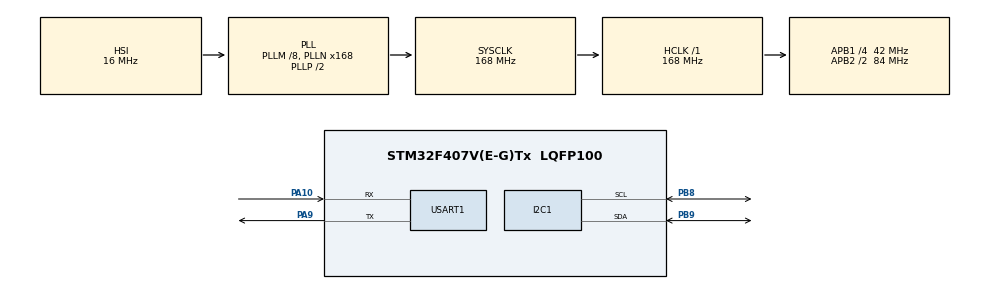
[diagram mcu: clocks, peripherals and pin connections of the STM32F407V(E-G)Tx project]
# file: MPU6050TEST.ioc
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Mcu.Family=STM32F4
Mcu.Name=STM32F407V(E-G)Tx
Mcu.Package=LQFP100
NVIC.PriorityGroup=NVIC_PRIORITYGROUP_4
NVIC.USART1_IRQn=true\:0\:0\:false\:false\:true\:true\:true
PA10.Mode=Asynchronous
PA10.Signal=USART1_RX
PA9.Mode=Asynchronous
PA9.Signal=USART1_TX
PB8.Mode=I2C
PB8.Signal=I2C1_SCL
PB9.Mode=I2C
PB9.Signal=I2C1_SDA
PH0-OSC_IN.Mode=HSE-External-Oscillator
PH0-OSC_IN.Signal=RCC_OSC_IN
PH1-OSC_OUT.Mode=HSE-External-Oscillator
PH1-OSC_OUT.Signal=RCC_OSC_OUT
ProjectManager.HeapSize=0x200
ProjectManager.StackSize=0x400
ProjectManager.TargetToolchain=STM32CubeIDE
RCC.48MHZClocksFreq_Value=84000000
RCC.AHBFreq_Value=168000000
RCC.APB1CLKDivider=RCC_HCLK_DIV4
RCC.APB1Freq_Value=42000000
RCC.APB1TimFreq_Value=84000000
RCC.APB2CLKDivider=RCC_HCLK_DIV2
RCC.APB2Freq_Value=84000000
RCC.APB2TimFreq_Value=168000000
RCC.CortexFreq_Value=168000000
RCC.HCLKFreq_Value=168000000
RCC.HSE_VALUE=8000000
RCC.HSI_VALUE=16000000
RCC.LSE_VALUE=32768
RCC.PLLM=8
RCC.PLLN=168
RCC.SYSCLKFreq_VALUE=168000000
RCC.SYSCLKSource=RCC_SYSCLKSOURCE_PLLCLK
RCC.VCOOutputFreq_Value=336000000
USART1.VirtualMode=VM_ASYNC
board=custom

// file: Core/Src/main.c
/* USER CODE BEGIN Header */
/**
  ******************************************************************************
  * @file           : main.c
  * @brief          : Main program body
  ******************************************************************************
  * @attention
  *
  * <h2><center>&copy; Copyright (c) 2020 STMicroelectronics.
  * All rights reserved.</center></h2>
  *
  * This software component is licensed by ST under BSD 3-Clause license,
  * the "License"; You may not use this file except in compliance with the
  * License. You may obtain a copy of the License at:
  *                        opensource.org/licenses/BSD-3-Clause
  *
  ******************************************************************************
  */
/* USER CODE END Header */

#include "main.h"
#include <math.h>

/* USER CODE BEGIN Includes */
#include "MPU6050.h"
/* USER CODE END Includes */

/* USER CODE BEGIN PD */
#define MPU6050_AXGAIN 16384.0
#define MPU6050_AYGAIN 16384.0
#define MPU6050_AZGAIN 16384.0

#define MPU6050_GXGAIN 131.072
#define MPU6050_GYGAIN 131.072
#define MPU6050_GZGAIN 131.072

#define MPU6050_AXOFFSET 0
#define MPU6050_AYOFFSET 0
#define MPU6050_AZOFFSET 0

// For Quaternion function
#define twoKpDef  (2.0f * 0.5f) // 2 * proportional gain
#define twoKiDef  (2.0f * 0.0f) // 2 * integral gain
/* USER CODE END PD */

I2C_HandleTypeDef hi2c1;

UART_HandleTypeDef huart1;

void SystemClock_Config(void);
static void MX_GPIO_Init(void);
static void MX_I2C1_Init(void);
static void MX_USART1_UART_Init(void);

/* USER CODE BEGIN 0 */

int16_t Accel_X, Accel_Y, Accel_Z;
int16_t Gyro_X, Gyro_Y, Gyro_Z;

float gacX, gacY, gacZ;
float roll, pitch, yaw;

uint8_t MPU6050 = 0;

void MPU6050_Write(uint8_t Address, uint8_t data){
  HAL_I2C_Mem_Write(&hi2c1, MPU6050, Address, 1, (uint8_t *)&data, 1, 10);
}

void MPU6050_Write_bits(uint8_t Address, uint8_t bitStart, uint8_t length, uint8_t data){
  uint8_t tmp = 0;
  HAL_I2C_Mem_Read(&hi2c1, MPU6050, Address, 1, (uint8_t *)&tmp, 1, 10);
  uint8_t mask = 0;
  switch(length){
    case 1: mask = 0x01; break;
    case 2: mask = 0x03; break;
    case 3: mask = 0x07; break;
    case 4: mask = 0x0F; break;
    case 5: mask = 0x1F; break;
    case 6: mask = 0x3F; break;
    case 7: mask = 0x7F; break;
    case 8: mask = 0xFF; break;
  }
  tmp &= ~(mask << bitStart);
  tmp |= (data << bitStart);
  HAL_I2C_Mem_Write(&hi2c1, MPU6050, Address, 1, (uint8_t *)&tmp, 1, 10);
}

uint8_t MPU6050_Read(uint8_t Address){
  uint8_t data;
  HAL_I2C_Mem_Read(&hi2c1, MPU6050, Address, 1, (uint8_t *)&data, 1, 10);
  return data;
}

void init_MPU6050(void){
  while(HAL_I2C_IsDeviceReady(&hi2c1, MPU6050, 10, 1000)!=HAL_OK) {
    MPU6050++;
  }
  // printf("MPU6050 I2C Address is 0x%02X(7bit value)\r\n", MPU6050>>1);

  // uint8_t temp = MPU6050_Read(MPU6050_RA_WHO_AM_I);
  // printf("Who am I = 0x%02X\r\n", temp);

  // printf("MPU6050 Initialize..... \r\n");
  printf("--------------------------------------------------------\r\n");

  HAL_Delay(100);
  /* Power Management 1, SLEEP Diasble*/
  MPU6050_Write_bits(MPU6050_RA_PWR_MGMT_1, MPU6050_PWR1_SLEEP_BIT, MPU6050_PWR1_SLEEP_LENGTH, DISABLE);
  HAL_Delay(10);
  /* Power Management 1, Internal 8MHz oscillator */
  MPU6050_Write_bits(MPU6050_RA_PWR_MGMT_1, MPU6050_PWR1_CLKSEL_BIT, MPU6050_PWR1_CLKSEL_LENGTH, MPU6050_CLOCK_INTERNAL);
  /* Gyroscope Configuration, ± 250 °/s, 131 LSB/°/s */
  MPU6050_Write_bits(MPU6050_RA_GYRO_CONFIG, MPU6050_GCONFIG_FS_SEL_BIT, MPU6050_GCONFIG_FS_SEL_LENGTH, MPU6050_GYRO_FS_250);
  /* Accelerometer Configuration, ± 2g, 16384 LSB/g */
  MPU6050_Write_bits(MPU6050_RA_ACCEL_CONFIG, MPU6050_ACONFIG_AFS_SEL_BIT, MPU6050_ACONFIG_AFS_SEL_LENGTH, MPU6050_ACCEL_FS_2);
}

void read_MPU6050_data(void){
  Accel_X = (MPU6050_Read(MPU6050_RA_ACCEL_XOUT_H)<<8) | MPU6050_Read(MPU6050_RA_ACCEL_XOUT_L);
  Accel_Y = (MPU6050_Read(MPU6050_RA_ACCEL_YOUT_H)<<8) | MPU6050_Read(MPU6050_RA_ACCEL_YOUT_L);
  Accel_Z = (MPU6050_Read(MPU6050_RA_ACCEL_ZOUT_H)<<8) | MPU6050_Read(MPU6050_RA_ACCEL_ZOUT_L);
  Gyro_X  = (MPU6050_Read(MPU6050_RA_GYRO_XOUT_H)<<8)  | MPU6050_Read(MPU6050_RA_GYRO_XOUT_L);
  Gyro_Y  = (MPU6050_Read(MPU6050_RA_GYRO_YOUT_H)<<8)  | MPU6050_Read(MPU6050_RA_GYRO_YOUT_L);
  Gyro_Z  = (MPU6050_Read(MPU6050_RA_GYRO_ZOUT_H)<<8)  | MPU6050_Read(MPU6050_RA_GYRO_ZOUT_L);
}

int _write(int32_t file, uint8_t *ptr, int32_t len){
  HAL_UART_Transmit(&huart1, ptr, len, 10);
  return len;
}

mpu6050_getRollPitchYaw(){
	roll = -atan((gacX - (float)MPU6050_AXOFFSET / 16384.0) / sqrt(gacY * gacY + gacZ * gacZ)) * 57.29577951;
	pitch = atan((gacY - (float)MPU6050_AYOFFSET / 16384.0) / sqrt(gacX * gacX + gacZ * gacZ)) * 57.29577951;
	yaw = atan(sqrt(gacX * gacX + gacZ * gacZ) / (gacZ - (float)MPU6050_AZOFFSET / 16384.0)) * 57.29577951;
}

//void mpu6050_update() {
////  axg = (float)(Accel_X - MPU6050_AXOFFSET) / MPU6050_AXGAIN;
////  ayg = (float)(Accel_Y - MPU6050_AYOFFSET) / MPU6050_AYGAIN;
////  azg = (float)(Accel_Z - MPU6050_AZOFFSET) / MPU6050_AZGAIN;
////  gxrs = (float)(Gyro_X - MPU6050_GXOFFSET) / MPU6050_GXGAIN * 0.01745329; //degree to radians
////  gyrs = (float)(Gyro_Y - MPU6050_GYOFFSET) / MPU6050_GYGAIN * 0.01745329; //degree to radians
////  gzrs = (float)(Gyro_Z - MPU6050_GZOFFSET) / MPU6050_GZGAIN * 0.01745329; //degree to radians
//  axg = (float)Accel_X / MPU6050_AXGAIN;
//  ayg = (float)Accel_Y / MPU6050_AYGAIN;
//  azg = (float)Accel_Z / MPU6050_AZGAIN;
//  gxrs = (float)Gyro_X / MPU6050_GXGAIN * 0.01745329; //degree to radians
//  gyrs = (float)Gyro_Y / MPU6050_GYGAIN * 0.01745329; //degree to radians
//  gzrs = (float)Gyro_Z / MPU6050_GZGAIN * 0.01745329; //degree to radians
//  // Degree to Radians Pi / 180 = 0.01745329 0.01745329251994329576923690768489
//}
/* USER CODE END 0 */

int main(void)
{

  /* MCU Configuration--------------------------------------------------------*/

  /* Reset of all peripherals, Initializes the Flash interface and the Systick. */
  HAL_Init();

  /* Configure the system clock */
  SystemClock_Config();

  /* Initialize all configured peripherals */
  MX_GPIO_Init();
  MX_I2C1_Init();
  MX_USART1_UART_Init();
  /* USER CODE BEGIN 2 */
  init_MPU6050();
  /* USER CODE END 2 */

  /* Infinite loop */
  /* USER CODE BEGIN WHILE */
  while (1)
  {
	read_MPU6050_data();

	printf("Acce_X = %6d / Acce_Y = %6d / Acce_Z = %6d \r\n", Accel_X, Accel_Y, Accel_Z);
	printf("Gyro_X = %6d / Gyro_Y = %6d / Gyro_Z = %6d \r\n", Gyro_X, Gyro_Y, Gyro_Z);

	Accel_X -= MPU6050_AXOFFSET;
	Accel_Y -= MPU6050_AYOFFSET;
	Accel_Z -= MPU6050_AZOFFSET;
	gacX = (float)Accel_X / 16384.0;
	gacY = (float)Accel_Y / 16384.0;
	gacZ = (float)Accel_Z / 16384.0;

	// Value of Roll, Pitch, Yaw
	mpu6050_getRollPitchYaw();
	printf("roll : %.3f / pitch : %.3f / yaw : %.3f\r\n");
	printf("---------------------------------------------------------\r\n");
	HAL_Delay(500);
    /* USER CODE END WHILE */

  }
}

void SystemClock_Config(void)
{
  RCC_OscInitTypeDef RCC_OscInitStruct = {0};
  RCC_ClkInitTypeDef RCC_ClkInitStruct = {0};

  /** Configure the main internal regulator output voltage
  */
  __HAL_RCC_PWR_CLK_ENABLE();
  __HAL_PWR_VOLTAGESCALING_CONFIG(PWR_REGULATOR_VOLTAGE_SCALE1);
  /** Initializes the CPU, AHB and APB busses clocks
  */
  RCC_OscInitStruct.OscillatorType = RCC_OSCILLATORTYPE_HSI;
  RCC_OscInitStruct.HSIState = RCC_HSI_ON;
  RCC_OscInitStruct.HSICalibrationValue = RCC_HSICALIBRATION_DEFAULT;
  RCC_OscInitStruct.PLL.PLLState = RCC_PLL_ON;
  RCC_OscInitStruct.PLL.PLLSource = RCC_PLLSOURCE_HSI;
  RCC_OscInitStruct.PLL.PLLM = 8;
  RCC_OscInitStruct.PLL.PLLN = 168;
  RCC_OscInitStruct.PLL.PLLP = RCC_PLLP_DIV2;
  RCC_OscInitStruct.PLL.PLLQ = 4;
  if (HAL_RCC_OscConfig(&RCC_OscInitStruct) != HAL_OK)
  {
    Error_Handler();
  }
  /** Initializes the CPU, AHB and APB busses clocks
  */
  RCC_ClkInitStruct.ClockType = RCC_CLOCKTYPE_HCLK|RCC_CLOCKTYPE_SYSCLK
                              |RCC_CLOCKTYPE_PCLK1|RCC_CLOCKTYPE_PCLK2;
  RCC_ClkInitStruct.SYSCLKSource = RCC_SYSCLKSOURCE_PLLCLK;
  RCC_ClkInitStruct.AHBCLKDivider = RCC_SYSCLK_DIV1;
  RCC_ClkInitStruct.APB1CLKDivider = RCC_HCLK_DIV4;
  RCC_ClkInitStruct.APB2CLKDivider = RCC_HCLK_DIV2;

  if (HAL_RCC_ClockConfig(&RCC_ClkInitStruct, FLASH_LATENCY_5) != HAL_OK)
  {
    Error_Handler();
  }
}

static void MX_I2C1_Init(void)
{

  hi2c1.Instance = I2C1;
  hi2c1.Init.ClockSpeed = 100000;
  hi2c1.Init.DutyCycle = I2C_DUTYCYCLE_2;
  hi2c1.Init.OwnAddress1 = 0;
  hi2c1.Init.AddressingMode = I2C_ADDRESSINGMODE_7BIT;
  hi2c1.Init.DualAddressMode = I2C_DUALADDRESS_DISABLE;
  hi2c1.Init.OwnAddress2 = 0;
  hi2c1.Init.GeneralCallMode = I2C_GENERALCALL_DISABLE;
  hi2c1.Init.NoStretchMode = I2C_NOSTRETCH_DISABLE;
  if (HAL_I2C_Init(&hi2c1) != HAL_OK)
  {
    Error_Handler();
  }

}

static void MX_USART1_UART_Init(void)
{

  huart1.Instance = USART1;
  huart1.Init.BaudRate = 115200;
  huart1.Init.WordLength = UART_WORDLENGTH_8B;
  huart1.Init.StopBits = UART_STOPBITS_1;
  huart1.Init.Parity = UART_PARITY_NONE;
  huart1.Init.Mode = UART_MODE_TX_RX;
  huart1.Init.HwFlowCtl = UART_HWCONTROL_NONE;
  huart1.Init.OverSampling = UART_OVERSAMPLING_16;
  if (HAL_UART_Init(&huart1) != HAL_OK)
  {
    Error_Handler();
  }
}

static void MX_GPIO_Init(void)
{

  /* GPIO Ports Clock Enable */
  __HAL_RCC_GPIOH_CLK_ENABLE();
  __HAL_RCC_GPIOA_CLK_ENABLE();
  __HAL_RCC_GPIOB_CLK_ENABLE();

}

void Error_Handler(void)
{
}

/************************ (C) COPYRIGHT STMicroelectronics *****END OF FILE****/
